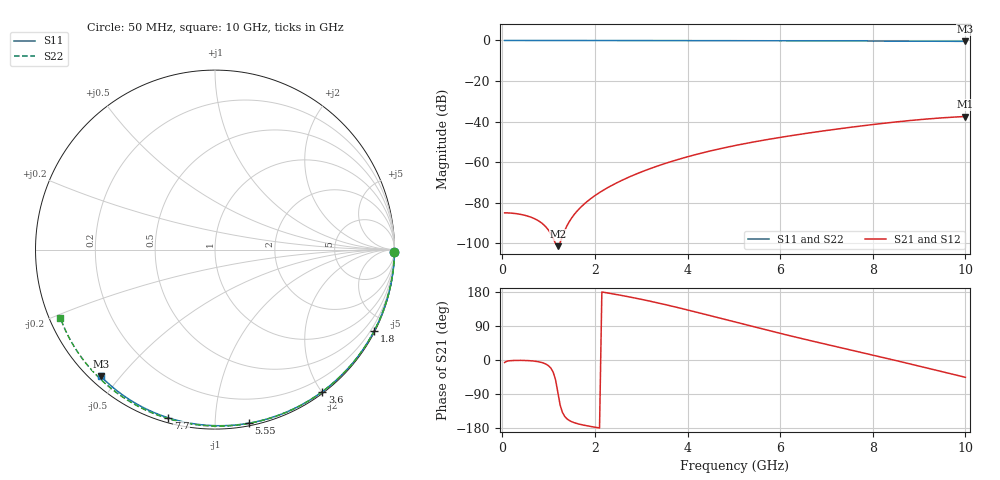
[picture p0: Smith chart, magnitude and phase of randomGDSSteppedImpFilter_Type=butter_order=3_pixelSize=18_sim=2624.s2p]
! freq	dB(S11)	phase(S11)	dB(S12)	phase(S12)
!  dB(S21)	phase(S21)	dB(S22)	phase(S22)
!S-par simulation data
#  GHz  S  DB  R 50
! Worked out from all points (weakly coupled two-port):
!   200 points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, 50 MHz to 10 GHz, reference 50 ohm
!   highest |S21| = -37.49 dB at 10 GHz (marker M1); lowest = -101.4 dB at 1.2 GHz (marker M2)
!   lowest |S11| = -0.4 dB at 10 GHz (marker M3), VSWR 38.93, Z = 1.54 - j22.2 ohm
!   |S11| at or under -10 dB: nowhere
!   |S22| runs from -0.5 to 0.0 dB; largest |S21 - S12| = 0
!   S11 on the Smith chart (normalised r, x): 50 MHz: open; 1.8 GHz: 0.04, -4.16; 3.6 GHz: 0.02, -2.01; 5.55 GHz: 0.02, -1.21; 7.7 GHz: 0.02, -0.76; 10 GHz: 0.03, -0.44
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0.05  -0.00 -0.8  -85.00 -6.5  -85.00 -6.5  -0.00 -0.9
0.6  -0.01 -9.1  -86.96 -1.9  -86.96 -1.9  -0.01 -10.8
1.2  -0.02 -18.1  -101.41 -85.4  -101.41 -85.4  -0.03 -21.5
1.75  -0.03 -26.3  -81.01 -171.7  -81.01 -171.7  -0.04 -31.2
1.8  -0.03 -27.1  -80.00 -172.9  -80.00 -172.9  -0.04 -32.0
1.95  -0.04 -29.3  -77.30 -176.3  -77.30 -176.3  -0.04 -34.6
2.1  -0.04 -31.5  -74.97 -179.4  -74.97 -179.4  -0.05 -37.2
2.25  -0.04 -33.6  -72.90 177.5  -72.90 177.5  -0.05 -39.8
2.45  -0.05 -36.6  -70.43 173.2  -70.43 173.2  -0.06 -43.2
2.9  -0.06 -43.0  -65.76 162.7  -65.76 162.7  -0.07 -50.8
3.4  -0.07 -50.1  -61.52 149.6  -61.52 149.6  -0.08 -59.1
3.6  -0.07 -52.9  -60.03 143.9  -60.03 143.9  -0.08 -62.4
3.95  -0.08 -57.7  -57.65 133.6  -57.65 133.6  -0.09 -68.0
4.3  -0.09 -62.5  -55.54 122.9  -55.54 122.9  -0.10 -73.6
5.05  -0.11 -72.5  -51.69 99.4  -51.69 99.4  -0.13 -85.2
5.55  -0.13 -79.0  -49.53 83.9  -49.53 83.9  -0.15 -92.8
6.1  -0.15 -86.0  -47.42 67.3  -47.42 67.3  -0.18 -100.9
6.7  -0.18 -93.4  -45.35 49.8  -45.35 49.8  -0.21 -109.6
7.7  -0.24 -105.5  -42.28 21.4  -42.28 21.4  -0.28 -123.8
8.35  -0.29 -113.1  -40.54 2.9  -40.54 2.9  -0.33 -132.8
9.2  -0.36 -122.9  -38.66 -22.0  -38.66 -22.0  -0.41 -144.7
10  -0.45 -132.0  -37.49 -45.7  -37.49 -45.7  -0.52 -156.1
